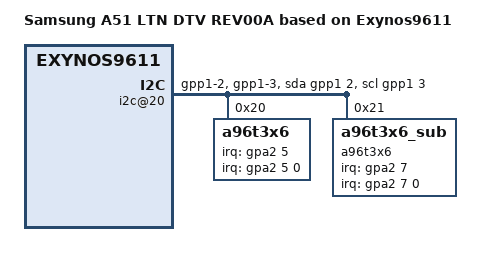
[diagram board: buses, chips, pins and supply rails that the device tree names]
/*
 * SAMSUNG EXYNOS9610 board device tree source
 *
 * Copyright (c) 2018 Samsung Electronics Co., Ltd.
 *		http://www.samsung.com
 *
 * This program is free software; you can redistribute it and/or modify
 * it under the terms of the GNU General Public License version 2 as
 * published by the Free Software Foundation.
 */

/dts-v1/;
/plugin/;
#include "exynos9611-a51_common.dtsi"
#include "battery_data_a51_00.dtsi"
#include "exynos9611-a51_fingerprint_00.dtsi"
#include "exynos9611-a51_sensorhub_01.dtsi"
#include "exynos9611-a51_nfc_01.dtsi"
#include "exynos9611-a51_ltn_dtv_gpio_01.dtsi"

/ {
	compatible = "samsung, A51 LTN DTV REV00A", "samsung,EXYNOS9611";
	dtbo-hw_rev = <1>;
	dtbo-hw_rev_end = <2>;

	fragment@model {
		target-path = "/";
		__overlay__ {
			#address-cells = <2>;
			#size-cells = <1>;

			model = "Samsung A51 LTN DTV REV00A based on Exynos9611";

			mif_pdata {
				/* GPIOs for HW REV */
				/* XGPIO26-AP_REV0, XGPIO27-AP_REV1, XGPIO28-AP_REV2, XGPIO29-AP_REV3 */
				gpios = <&gpg3 2 0>, <&gpg3 3 0>, <&gpg3 4 0>, <&gpg3 5 0>;
				pinctrl-names = "default";
			};

			sec_vib {
				compatible = "sec_vib";
				sec_vib_pdata {
					status = "okay";
					sec_vib,max_timeout = <10000>;
					sec_vib,ldo_type = <1>;
					sec_vib,ldo_en = <&gpg2 5 0>;
				};
			};

			i2c@20 {
				compatible = "i2c-gpio";
				gpios = <&gpp1 2 0
						&gpp1 3 0>;
				i2c-gpio,delay-us = <2>;
				pinctrl-names = "default","on_i2c","off_i2c";
				pinctrl-0 = <&grip_i2c>;
				pinctrl-1 = <&grip_i2c>;
				pinctrl-2 = <&grip_gpio>;
				#address-cells = <1>;
				#size-cells = <0>;
				status = "okay";

				a96t3x6@20 {
					compatible = "a96t3x6";
					pinctrl-names = "default";
					pinctrl-0 = <&grip_int>;
					reg = <0x20>;
					interrupt-parent = <&gpa2>;
					interrupts = <5 0 0>;
					a96t3x6,irq_gpio = <&gpa2 5 0>;
					a96t3x6,ldo_en = <&gpg2 1 0>;
					a96t3x6,fw_path = "abov/a96t356_a51.fw";
					a96t3x6,firmup_cmd = <0x3b>;
				};

				a96t3x6@21 {
					compatible = "a96t3x6_sub";
					pinctrl-names = "default";
					pinctrl-0 = <&grip_sub_int>;
					reg = <0x21>;
					interrupt-parent = <&gpa2>;
					interrupts = <7 0 0>;
					a96t3x6,irq_gpio = <&gpa2 7 0>;
					a96t3x6,ldo_en = <&gpg2 1 0>;
					a96t3x6,fw_path = "abov/a96t356_a51_sub.fw";
					a96t3x6,firmup_cmd = <0x3b>;
				};
			};
		}; /* end of __overlay__ */
	}; /* end of fragment */
}; /* end of root */

&pinctrl_0 {
	earant_det: earant-det {
		samsung,pins ="gpa1-4";
		samsung,pin-function = <0xf>;
		samsung,pin-pud = <0>;
	};
	
	grip_int: grip-int {
		samsung,pins = "gpa2-5";
		samsung,pin-function = <0xf>;
		samsung,pin-pud = <0>;
	};
	
	grip_sub_int: grip-sub-int {
		samsung,pins = "gpa2-7";
		samsung,pin-function = <0xf>;
		samsung,pin-pud = <0>;
	};	
};

&pinctrl_4 {
	grip_i2c: grip-i2c {
		samsung,pins = "gpp1-2", "gpp1-3";
		samsung,pin-function = <2>;
		samsung,pin-pud = <0>;
	};

	grip_gpio: grip-gpio {
		samsung,pins = "gpp1-2", "gpp1-3";
		samsung,pin-function = <0>;
		samsung,pin-pud = <0>;
		samsung,pin-drv = <0>;
	};

	grip_ldo: grip-ldo {
		samsung,pins = "gpg2-1";
		samsung,pin-function = <1>;
		samsung,pin-pud = <0>;
		samsung,pin-val = <1>;
	};
};
